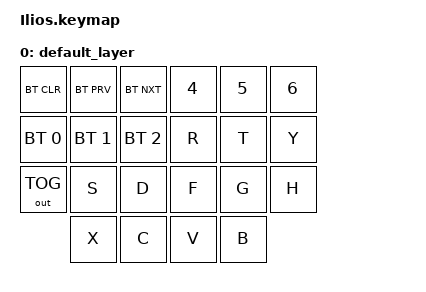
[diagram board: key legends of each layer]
#include <behaviors.dtsi>
#include <dt-bindings/zmk/keys.h>
#include <dt-bindings/zmk/bt.h>
#include <dt-bindings/zmk/outputs.h>

/ {
    keymap {
        compatible = "zmk,keymap";

        default_layer { // Layer 0
            bindings = <
                &bt BT_CLR   &bt BT_PRV   &bt BT_NXT   &kp N4   &kp N5   &kp N6
                &bt BT_SEL 0    &bt BT_SEL 1    &bt BT_SEL 2    &kp R    &kp T    &kp Y
                &out OUT_TOG    &kp S    &kp D    &kp F    &kp G    &kp H
                         &kp X    &kp C    &kp V    &kp B
            >;
        };
    };
 };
